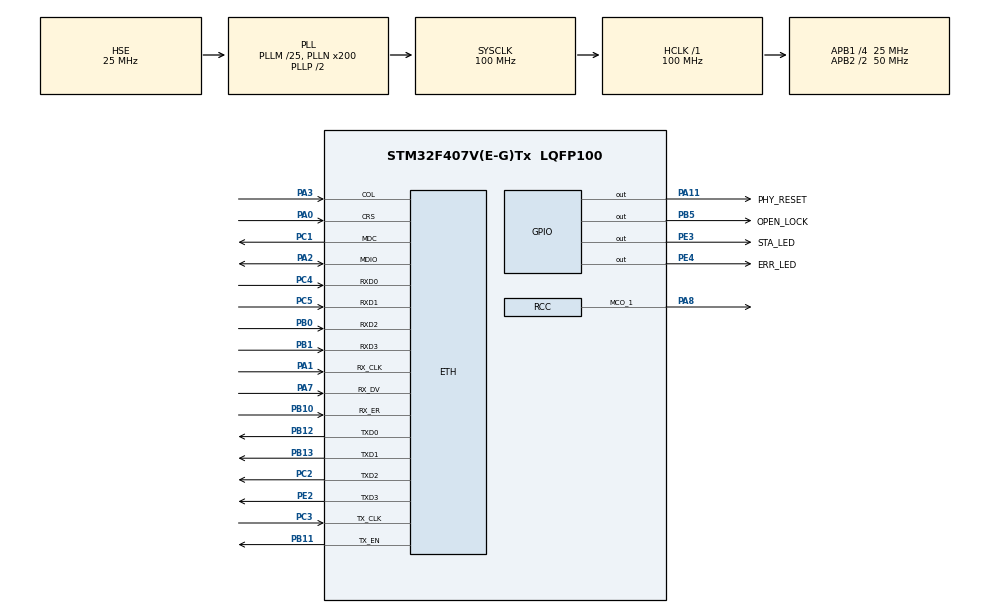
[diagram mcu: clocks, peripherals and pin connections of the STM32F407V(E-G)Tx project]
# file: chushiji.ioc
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ETH.MediaInterface=ETH_MEDIA_INTERFACE_MII
ETH.PhyAddress=0
LWIP.CMSIS_VERSION-Enabled=1
LWIP.GATEWAY_ADDRESS=192.168.002.002
LWIP.IP_ADDRESS=192.168.002.222
LWIP.LWIP_DHCP=0
LWIP.LWIP_NETIF_STATUS_CALLBACK=1
LWIP.NETMASK_ADDRESS=255.255.255.000
LWIP.Version=v2.1.2_Cube
Mcu.Family=STM32F4
Mcu.Name=STM32F407V(E-G)Tx
Mcu.Package=LQFP100
NVIC.PriorityGroup=NVIC_PRIORITYGROUP_4
NVIC.TIM8_TRG_COM_TIM14_IRQn=true\:15\:0\:false\:false\:true\:false\:true
NVIC.TimeBase=TIM8_TRG_COM_TIM14_IRQn
NVIC.TimeBaseIP=TIM14
PA0-WKUP.Mode=MII
PA0-WKUP.Signal=ETH_CRS
PA1.Mode=MII
PA1.Signal=ETH_RX_CLK
PA11.GPIO_Label=PHY_RESET
PA11.PinState=GPIO_PIN_SET
PA11.Signal=GPIO_Output
PA13.Mode=Serial_Wire
PA13.Signal=SYS_JTMS-SWDIO
PA14.Mode=Serial_Wire
PA14.Signal=SYS_JTCK-SWCLK
PA2.Mode=MII
PA2.Signal=ETH_MDIO
PA3.Mode=MII
PA3.Signal=ETH_COL
PA7.Mode=MII
PA7.Signal=ETH_RX_DV
PA8.Mode=Clock-out-1
PA8.Signal=RCC_MCO_1
PB0.Mode=MII
PB0.Signal=ETH_RXD2
PB1.Mode=MII
PB1.Signal=ETH_RXD3
PB10.Mode=Activate Rx Err signal
PB10.Signal=ETH_RX_ER
PB11.Mode=MII
PB11.Signal=ETH_TX_EN
PB12.Mode=MII
PB12.Signal=ETH_TXD0
PB13.Mode=MII
PB13.Signal=ETH_TXD1
PB5.GPIO_Label=OPEN_LOCK
PB5.Signal=GPIO_Output
PC1.Mode=MII
PC1.Signal=ETH_MDC
PC2.Mode=MII
PC2.Signal=ETH_TXD2
PC3.Mode=MII
PC3.Signal=ETH_TX_CLK
PC4.Mode=MII
PC4.Signal=ETH_RXD0
PC5.Mode=MII
PC5.Signal=ETH_RXD1
PE2.Mode=MII
PE2.Signal=ETH_TXD3
PE3.GPIO_Label=STA_LED
PE3.Signal=GPIO_Output
PE4.GPIO_Label=ERR_LED
PE4.Signal=GPIO_Output
PH0-OSC_IN.Mode=HSE-External-Oscillator
PH0-OSC_IN.Signal=RCC_OSC_IN
PH1-OSC_OUT.Mode=HSE-External-Oscillator
PH1-OSC_OUT.Signal=RCC_OSC_OUT
ProjectManager.HeapSize=0x200
ProjectManager.StackSize=0x400
ProjectManager.TargetToolchain=MDK-ARM V5.32
RCC.48MHZClocksFreq_Value=50000000
RCC.AHBFreq_Value=100000000
RCC.APB1CLKDivider=RCC_HCLK_DIV4
RCC.APB1Freq_Value=25000000
RCC.APB1TimFreq_Value=50000000
RCC.APB2CLKDivider=RCC_HCLK_DIV2
RCC.APB2Freq_Value=50000000
RCC.APB2TimFreq_Value=100000000
RCC.CortexFreq_Value=100000000
RCC.HCLKFreq_Value=100000000
RCC.HSE_VALUE=25000000
RCC.HSI_VALUE=16000000
RCC.LSE_VALUE=32768
RCC.PLLM=25
RCC.PLLN=200
RCC.PLLSourceVirtual=RCC_PLLSOURCE_HSE
RCC.RCC_MCO1Source=RCC_MCO1SOURCE_HSE
RCC.SYSCLKFreq_VALUE=100000000
RCC.SYSCLKSource=RCC_SYSCLKSOURCE_PLLCLK
RCC.VCOOutputFreq_Value=200000000
TIM6.Prescaler=71
VP_LWIP_VS_Enabled.Mode=Enabled
VP_SYS_VS_tim14.Mode=TIM14
VP_TIM6_VS_ClockSourceINT.Mode=Enable_Timer
board=custom

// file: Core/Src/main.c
/* USER CODE BEGIN Header */
/**
  ******************************************************************************
  * @file           : main.c
  * @brief          : Main program body
  ******************************************************************************
  * @attention
  *
  * <h2><center>&copy; Copyright (c) 2021 STMicroelectronics.
  * All rights reserved.</center></h2>
  *
  * This software component is licensed by ST under BSD 3-Clause license,
  * the "License"; You may not use this file except in compliance with the
  * License. You may obtain a copy of the License at:
  *                        opensource.org/licenses/BSD-3-Clause
  *
  ******************************************************************************
  */
/* USER CODE END Header */
#include "main.h"
#include "lwip.h"

/* USER CODE BEGIN Includes */
#include "lwip/pbuf.h"
#include "lwip/udp.h"
#include "AHT20.h"
#include "EEPROM.h"
#include "string.h"
/* USER CODE END Includes */

/* USER CODE BEGIN PTD */
#define DEST_IP_ADDR0   (uint8_t) 192
#define DEST_IP_ADDR1   (uint8_t) 168
#define DEST_IP_ADDR2   (uint8_t) 2
#define DEST_IP_ADDR3   (uint8_t) 19

#define UDP_SERVER_PORT   (uint16_t) 8192   /* define the UDP local connection port */
#define UDP_CLIENT_PORT   (uint16_t) 8192   /* define the UDP remote connection port */
/* USER CODE END PTD */

TIM_HandleTypeDef htim6;

void SystemClock_Config(void);
static void MX_GPIO_Init(void);
static void MX_TIM6_Init(void);
/* USER CODE BEGIN PFP */
static void udp_receive_callback(void *arg, struct udp_pcb *upcb, struct pbuf *p, const ip_addr_t *addr, u16_t port);

uint8_t   data[100];
__IO uint32_t message_count = 0;
struct udp_pcb *upcb;
uint32_t CT_data[2];
uint16_t c1,t1;
uint8_t ip_client[4] = {0};//0x10-0x13
uint8_t ip_dest[4] = {0};//0x20-0x23
uint8_t dest_port[2] = {0};
uint8_t client_port[2] = {0};
/* USER CODE END PFP */

/* USER CODE BEGIN 0 */

void delay_us(uint16_t us)
{
	__HAL_TIM_SET_COUNTER(&htim6,0);
	__HAL_TIM_ENABLE(&htim6);
	while(__HAL_TIM_GET_COUNTER(&htim6)<us) //??,??
	{
	}
	__HAL_TIM_DISABLE(&htim6);
}

void udp_echoclient_connect(void)
{
  ip_addr_t DestIPaddr;
	uint16_t server_port,local_port;
  err_t err;
  server_port=(dest_port[0]<<8)+dest_port[1];
	local_port=(client_port[0]<<8)+client_port[1];
  /* Create a new UDP control block  */
  upcb = udp_new();

  if (upcb!=NULL)
  {
    /*assign destination IP address */
    IP4_ADDR( &DestIPaddr, ip_dest[0], ip_dest[1], ip_dest[2], ip_dest[3] );

		upcb->local_port=local_port;
    /* configure destination IP address and port */
    err= udp_connect(upcb, &DestIPaddr, server_port);

    if (err == ERR_OK)
    {
      /* Set a receive callback for the upcb */
      udp_recv(upcb, udp_receive_callback, NULL);
    }
		else
		{
			udp_remove(upcb);
		}
  }
}

void udp_echoclient_send(void)
{
  struct pbuf *p;

  data[0]=(t1>>8)&0xff;
	data[1]=t1&0xff;
  data[2]=(c1>>8)&0xff;
	data[3]=c1&0xff;
  /* allocate pbuf from pool*/
  p = pbuf_alloc(PBUF_TRANSPORT,4, PBUF_POOL);

  if (p != NULL)
  {
    /* copy data to pbuf */
    pbuf_take(p, (char*)data, 4);

    /* send udp data */
    udp_send(upcb, p);

    /* free pbuf */
    pbuf_free(p);
  }
}

static void udp_receive_callback(void *arg, struct udp_pcb *upcb, struct pbuf *p, const ip_addr_t *addr, u16_t port)
{
	uint8_t dat[16];
	uint8_t buf[16]={0};
	struct pbuf *ptemp;
	buf[0]='G';
	buf[1]='E';
	buf[2]='T';
	buf[3]=ip_client[0];
	buf[4]=ip_client[1];
	buf[5]=ip_client[2];
	buf[6]=ip_client[3];
	buf[7]=client_port[0];
	buf[8]=client_port[1];
	buf[9]=ip_dest[0];
	buf[10]=ip_dest[1];
	buf[11]=ip_dest[2];
	buf[12]=ip_dest[3];
	buf[13]=dest_port[0];
	buf[14]=dest_port[1];
	buf[15]=0xff;
  if(p!=NULL)
	{
		if(p->len==3)
		{
			memcpy((void*)dat,p->payload,p->len);
			if((dat[0]=='G')&&(dat[1]=='E')&&(dat[2]=='T'))
			{
				ptemp= pbuf_alloc(PBUF_TRANSPORT,16, PBUF_POOL);
			  pbuf_take(ptemp, (char*)buf,16);
				udp_send(upcb,ptemp);

			}
		}
		else if(p->len==16)
		{
			memcpy((void*)dat,p->payload,p->len);
			if((dat[0]=='S')&&(dat[1]=='E')&&(dat[2]=='T'))
			{
				WriteOneByte(0x10,dat[3]);
				WriteOneByte(0x11,dat[4]);
				WriteOneByte(0x12,dat[5]);
				WriteOneByte(0x13,dat[6]);
				WriteOneByte(0x14,dat[7]);
				WriteOneByte(0x15,dat[8]);
				WriteOneByte(0x20,dat[9]);
				WriteOneByte(0x21,dat[10]);
				WriteOneByte(0x22,dat[11]);
				WriteOneByte(0x23,dat[12]);
				WriteOneByte(0x24,dat[13]);
				WriteOneByte(0x25,dat[14]);
			}
		}
	}

  /* Free receive pbuf */
  pbuf_free(p);
}
/* USER CODE END 0 */

int main(void)
{

  /* MCU Configuration--------------------------------------------------------*/

  /* Reset of all peripherals, Initializes the Flash interface and the Systick. */
  HAL_Init();

  /* Configure the system clock */
  SystemClock_Config();

  /* USER CODE BEGIN SysInit */
//	Init_I2C0_Sensor_Port();
//	ip_client[0]=ReadOneByte(0x10);
//	ip_client[1]=ReadOneByte(0x11);
//	ip_client[2]=ReadOneByte(0x12);
//	ip_client[3]=ReadOneByte(0x13);
//	client_port[0]=ReadOneByte(0x14);
//	client_port[1]=ReadOneByte(0x15);
//	ip_dest[0]=ReadOneByte(0x20);
//	ip_dest[1]=ReadOneByte(0x21);
//	ip_dest[2]=ReadOneByte(0x22);
//	ip_dest[3]=ReadOneByte(0x23);
//	dest_port[0]=ReadOneByte(0x24);
//	dest_port[1]=ReadOneByte(0x25);
  /* USER CODE END SysInit */

  /* Initialize all configured peripherals */
  MX_GPIO_Init();
	Init_I2C0_Sensor_Port();
	ip_client[0]=ReadOneByte(0x10);
	ip_client[1]=ReadOneByte(0x11);
	ip_client[2]=ReadOneByte(0x12);
	ip_client[3]=ReadOneByte(0x13);
	client_port[0]=ReadOneByte(0x14);
	client_port[1]=ReadOneByte(0x15);
	ip_dest[0]=ReadOneByte(0x20);
	ip_dest[1]=ReadOneByte(0x21);
	ip_dest[2]=ReadOneByte(0x22);
	ip_dest[3]=ReadOneByte(0x23);
	dest_port[0]=ReadOneByte(0x24);
	dest_port[1]=ReadOneByte(0x25);
  MX_LWIP_Init();
  MX_TIM6_Init();
  /* USER CODE BEGIN 2 */
	udp_echoclient_connect();
	AHT20_Init();
	Delay_1ms(500);
	/***********************************************************************************/
	/**///②上电第一次发0x71读取状态字，判断状态字是否为0x18,如果不是0x18,进行寄存器初始化
	/***********************************************************************************/
	if((AHT20_Read_Status()&0x18)!=0x18)
	{
	AHT20_Start_Init(); //重新初始化寄存器
	Delay_1ms(10);
	}
  /* USER CODE END 2 */

  /* Infinite loop */
  while (1)
  {

    /* USER CODE BEGIN 3 */
		MX_LWIP_Process();
		HAL_GPIO_TogglePin(GPIOE, STA_LED_Pin);
		AHT20_Read_CTdata_crc(CT_data);  //crc校验后，读取AHT20的温度和湿度数据

		c1 = CT_data[0]*100*10/1024/1024;  //计算得到湿度值c1（放大了10倍）
		t1 = CT_data[1]*200*10/1024/1024-500;//计算得到温度值t1（放大了10倍）
		if(c1>=650)
			HAL_GPIO_WritePin(GPIOB, GPIO_PIN_5, GPIO_PIN_SET);
		else if(c1<=450)
			HAL_GPIO_WritePin(GPIOB, GPIO_PIN_5, GPIO_PIN_RESET);
		if(c1>=850)
			HAL_GPIO_WritePin(GPIOE, ERR_LED_Pin, GPIO_PIN_SET);
		else
			HAL_GPIO_WritePin(GPIOE, ERR_LED_Pin, GPIO_PIN_RESET);
    udp_echoclient_send();
		Delay_1ms(500);
	 }
  /* USER CODE END 3 */
}

void SystemClock_Config(void)
{
  RCC_OscInitTypeDef RCC_OscInitStruct = {0};
  RCC_ClkInitTypeDef RCC_ClkInitStruct = {0};

  /** Configure the main internal regulator output voltage
  */
  __HAL_RCC_PWR_CLK_ENABLE();
  __HAL_PWR_VOLTAGESCALING_CONFIG(PWR_REGULATOR_VOLTAGE_SCALE1);
  /** Initializes the RCC Oscillators according to the specified parameters
  * in the RCC_OscInitTypeDef structure.
  */
  RCC_OscInitStruct.OscillatorType = RCC_OSCILLATORTYPE_HSE;
  RCC_OscInitStruct.HSEState = RCC_HSE_ON;
  RCC_OscInitStruct.PLL.PLLState = RCC_PLL_ON;
  RCC_OscInitStruct.PLL.PLLSource = RCC_PLLSOURCE_HSE;
  RCC_OscInitStruct.PLL.PLLM = 25;
  RCC_OscInitStruct.PLL.PLLN = 200;
  RCC_OscInitStruct.PLL.PLLP = RCC_PLLP_DIV2;
  RCC_OscInitStruct.PLL.PLLQ = 4;
  if (HAL_RCC_OscConfig(&RCC_OscInitStruct) != HAL_OK)
  {
    Error_Handler();
  }
  /** Initializes the CPU, AHB and APB buses clocks
  */
  RCC_ClkInitStruct.ClockType = RCC_CLOCKTYPE_HCLK|RCC_CLOCKTYPE_SYSCLK
                              |RCC_CLOCKTYPE_PCLK1|RCC_CLOCKTYPE_PCLK2;
  RCC_ClkInitStruct.SYSCLKSource = RCC_SYSCLKSOURCE_PLLCLK;
  RCC_ClkInitStruct.AHBCLKDivider = RCC_SYSCLK_DIV1;
  RCC_ClkInitStruct.APB1CLKDivider = RCC_HCLK_DIV4;
  RCC_ClkInitStruct.APB2CLKDivider = RCC_HCLK_DIV2;

  if (HAL_RCC_ClockConfig(&RCC_ClkInitStruct, FLASH_LATENCY_3) != HAL_OK)
  {
    Error_Handler();
  }
  HAL_RCC_MCOConfig(RCC_MCO1, RCC_MCO1SOURCE_HSE, RCC_MCODIV_1);
}

static void MX_TIM6_Init(void)
{

  TIM_MasterConfigTypeDef sMasterConfig = {0};

  htim6.Instance = TIM6;
  htim6.Init.Prescaler = 71;
  htim6.Init.CounterMode = TIM_COUNTERMODE_UP;
  htim6.Init.Period = 65535;
  htim6.Init.AutoReloadPreload = TIM_AUTORELOAD_PRELOAD_DISABLE;
  if (HAL_TIM_Base_Init(&htim6) != HAL_OK)
  {
    Error_Handler();
  }
  sMasterConfig.MasterOutputTrigger = TIM_TRGO_RESET;
  sMasterConfig.MasterSlaveMode = TIM_MASTERSLAVEMODE_DISABLE;
  if (HAL_TIMEx_MasterConfigSynchronization(&htim6, &sMasterConfig) != HAL_OK)
  {
    Error_Handler();
  }

}

static void MX_GPIO_Init(void)
{
  GPIO_InitTypeDef GPIO_InitStruct = {0};

  /* GPIO Ports Clock Enable */
  __HAL_RCC_GPIOE_CLK_ENABLE();
  __HAL_RCC_GPIOH_CLK_ENABLE();
  __HAL_RCC_GPIOC_CLK_ENABLE();
  __HAL_RCC_GPIOA_CLK_ENABLE();
  __HAL_RCC_GPIOB_CLK_ENABLE();

  /*Configure GPIO pin Output Level */
  HAL_GPIO_WritePin(GPIOE, STA_LED_Pin|ERR_LED_Pin, GPIO_PIN_RESET);

  /*Configure GPIO pin Output Level */
  HAL_GPIO_WritePin(PHY_RESET_GPIO_Port, PHY_RESET_Pin, GPIO_PIN_SET);

  /*Configure GPIO pin Output Level */
  HAL_GPIO_WritePin(OPEN_LOCK_GPIO_Port, OPEN_LOCK_Pin, GPIO_PIN_RESET);

  /*Configure GPIO pins : STA_LED_Pin ERR_LED_Pin */
  GPIO_InitStruct.Pin = STA_LED_Pin|ERR_LED_Pin;
  GPIO_InitStruct.Mode = GPIO_MODE_OUTPUT_PP;
  GPIO_InitStruct.Pull = GPIO_NOPULL;
  GPIO_InitStruct.Speed = GPIO_SPEED_FREQ_LOW;
  HAL_GPIO_Init(GPIOE, &GPIO_InitStruct);

  /*Configure GPIO pin : PA8 */
  GPIO_InitStruct.Pin = GPIO_PIN_8;
  GPIO_InitStruct.Mode = GPIO_MODE_AF_PP;
  GPIO_InitStruct.Pull = GPIO_NOPULL;
  GPIO_InitStruct.Speed = GPIO_SPEED_FREQ_LOW;
  GPIO_InitStruct.Alternate = GPIO_AF0_MCO;
  HAL_GPIO_Init(GPIOA, &GPIO_InitStruct);

  /*Configure GPIO pin : PHY_RESET_Pin */
  GPIO_InitStruct.Pin = PHY_RESET_Pin;
  GPIO_InitStruct.Mode = GPIO_MODE_OUTPUT_PP;
  GPIO_InitStruct.Pull = GPIO_NOPULL;
  GPIO_InitStruct.Speed = GPIO_SPEED_FREQ_LOW;
  HAL_GPIO_Init(PHY_RESET_GPIO_Port, &GPIO_InitStruct);

  /*Configure GPIO pin : OPEN_LOCK_Pin */
  GPIO_InitStruct.Pin = OPEN_LOCK_Pin;
  GPIO_InitStruct.Mode = GPIO_MODE_OUTPUT_PP;
  GPIO_InitStruct.Pull = GPIO_NOPULL;
  GPIO_InitStruct.Speed = GPIO_SPEED_FREQ_LOW;
  HAL_GPIO_Init(OPEN_LOCK_GPIO_Port, &GPIO_InitStruct);

}

void HAL_TIM_PeriodElapsedCallback(TIM_HandleTypeDef *htim)
{
  if (htim->Instance == TIM14) {
    HAL_IncTick();
  }
}

void Error_Handler(void)
{
  __disable_irq();
  while (1)
  {
  }
}

/************************ (C) COPYRIGHT STMicroelectronics *****END OF FILE****/
